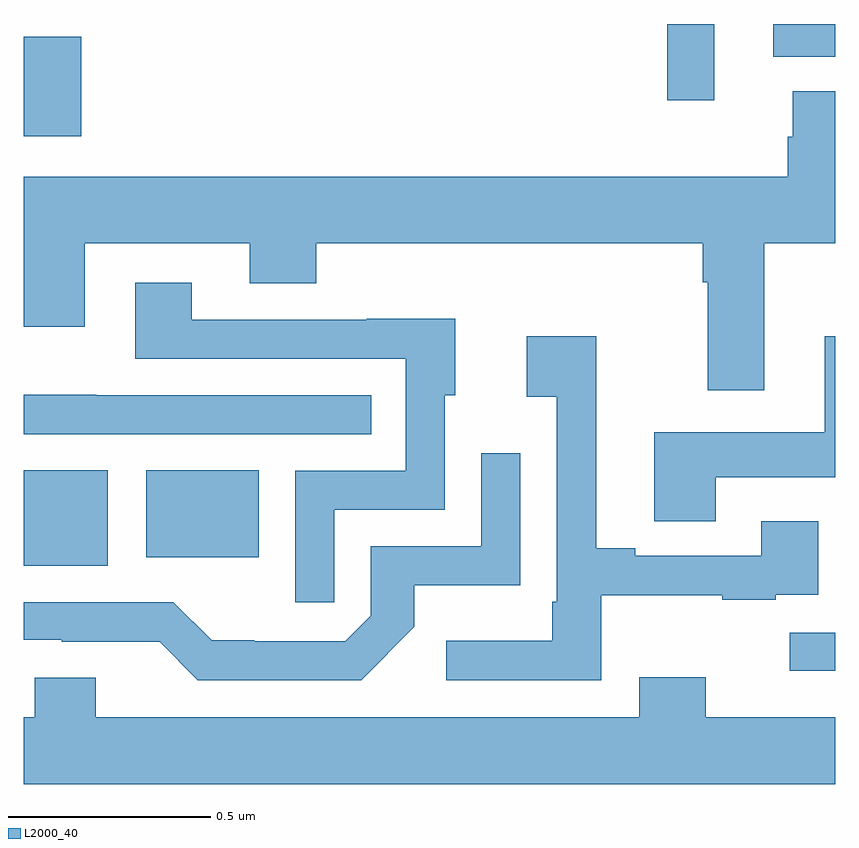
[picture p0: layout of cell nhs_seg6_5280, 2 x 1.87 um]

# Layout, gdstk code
import gdstk
lib = gdstk.Library(unit=1e-6, precision=1e-09)
def R(c, l, rs):  # rectangles x0, y0, x1, y1
    for r in rs: c.add(gdstk.rectangle(r[:2], r[2:], *l))
def P(c, l, *ps):  # polygons
    for p in ps: c.add(gdstk.Polygon(p, *l))
L2000_40 = (2000, 40)

nhs_seg6_5280 = lib.new_cell('nhs_seg6_5280')
R(nhs_seg6_5280, L2000_40, [(181.887,988.907,182,989.001), (180,989.165,180.208,989.401), (180.302,989.186,180.58,989.401), (180,990.224,180.142,990.469), (181.585,990.312,181.701,990.5), (181.847,990.419,182,990.5)])
P(nhs_seg6_5280, L2000_40, [(181.825,989.96),(182,989.96),(182,990.334),(181.895,990.334),(181.895,990.222),(181.883,990.222),(181.883,990.124),(180,990.124),(180,989.754),(180.151,989.754),(180.151,989.96),(180.557,989.96),(180.557,989.861),(180.721,989.861),(180.721,989.96),(181.673,989.96),(181.673,989.864),(181.685,989.864),(181.685,989.598),(181.825,989.598)],
  [(180.765,989.304),(181.038,989.304),(181.038,989.586),(181.063,989.586),(181.063,989.774),(180.845,989.774),(180.845,989.772),(180.415,989.772),(180.415,989.863),(180.275,989.863),(180.275,989.676),(180.942,989.676),(180.942,989.4),(180.669,989.4),(180.669,989.076),(180.765,989.076)],
  [(181.423,989.093),(181.721,989.093),(181.721,989.082),(181.853,989.082),(181.853,989.094),(181.957,989.094),(181.957,989.275),(181.817,989.275),(181.817,989.19),(181.507,989.19),(181.507,989.209),(181.411,989.209),(181.411,989.731),(181.239,989.731),(181.239,989.582),(181.314,989.582),(181.314,989.077),(181.302,989.077),(181.302,988.981),(181.041,988.981),(181.041,988.884),(181.423,988.884)],
  [(181.705,989.384),(182,989.384),(182,989.731),(181.973,989.731),(181.973,989.494),(181.553,989.494),(181.553,989.275),(181.705,989.275)],
  [(180.857,989.586),(180.179,989.586),(180.179,989.587),(180,989.587),(180,989.49),(180.857,989.49)],
  [(180.963,989.015),(180.963,989.117),(181.224,989.117),(181.224,989.443),(181.128,989.443),(181.128,989.214),(180.855,989.214),(180.855,989.043),(180.792,988.98),(180.568,988.98),(180.568,988.982),(180.464,988.982),(180.369,989.076),(180,989.076),(180,988.983),(180.094,988.983),(180.094,988.979),(180.335,988.979),(180.429,988.884),(180.832,988.884)],
  [(182,988.792),(181.681,988.792),(181.681,988.891),(181.517,988.891),(181.517,988.792),(180.178,988.792),(180.178,988.89),(180.028,988.89),(180.028,988.792),(180,988.792),(180,988.628),(182,988.628)])

lib.write_gds('nhs_seg6_5280.gds')
